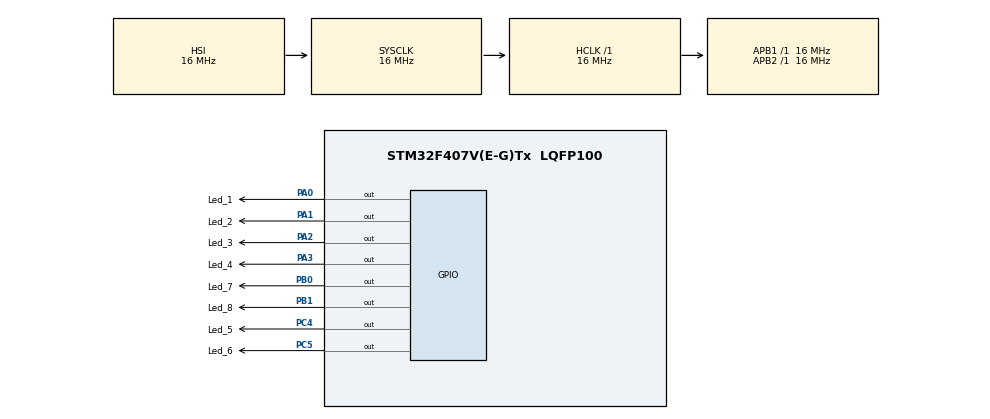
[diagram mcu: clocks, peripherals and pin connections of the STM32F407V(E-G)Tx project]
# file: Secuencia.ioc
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Mcu.Family=STM32F4
Mcu.Name=STM32F407V(E-G)Tx
Mcu.Package=LQFP100
NVIC.PriorityGroup=NVIC_PRIORITYGROUP_4
PA0-WKUP.GPIO_Label=Led_1
PA0-WKUP.Signal=GPIO_Output
PA1.GPIO_Label=Led_2
PA1.Signal=GPIO_Output
PA2.GPIO_Label=Led_3
PA2.Signal=GPIO_Output
PA3.GPIO_Label=Led_4
PA3.Signal=GPIO_Output
PB0.GPIO_Label=Led_7
PB0.Signal=GPIO_Output
PB1.GPIO_Label=Led_8
PB1.Signal=GPIO_Output
PC4.GPIO_Label=Led_5
PC4.Signal=GPIO_Output
PC5.GPIO_Label=Led_6
PC5.Signal=GPIO_Output
ProjectManager.HeapSize=0x200
ProjectManager.StackSize=0x400
ProjectManager.TargetToolchain=TrueSTUDIO
RCC.AHBFreq_Value=16000000
RCC.APB1Freq_Value=16000000
RCC.APB2Freq_Value=16000000
RCC.CortexFreq_Value=16000000
RCC.HSE_VALUE=25000000
RCC.HSI_VALUE=16000000
RCC.LSE_VALUE=32768
RCC.SYSCLKFreq_VALUE=16000000
RCC.VCOOutputFreq_Value=192000000
board=Secuencia

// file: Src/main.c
/**
  ******************************************************************************
  * File Name          : main.c
  * Description        : Main program body
  ******************************************************************************
  ** This notice applies to any and all portions of this file
  * that are not between comment pairs USER CODE BEGIN and
  * USER CODE END. Other portions of this file, whether
  * inserted by the user or by software development tools
  * are owned by their respective copyright owners.
  *
  * COPYRIGHT(c) 2017 STMicroelectronics
  *
  * Redistribution and use in source and binary forms, with or without modification,
  * are permitted provided that the following conditions are met:
  *   1. Redistributions of source code must retain the above copyright notice,
  *      this list of conditions and the following disclaimer.
  *   2. Redistributions in binary form must reproduce the above copyright notice,
  *      this list of conditions and the following disclaimer in the documentation
  *      and/or other materials provided with the distribution.
  *   3. Neither the name of STMicroelectronics nor the names of its contributors
  *      may be used to endorse or promote products derived from this software
  *      without specific prior written permission.
  *
  * THIS SOFTWARE IS PROVIDED BY THE COPYRIGHT HOLDERS AND CONTRIBUTORS "AS IS"
  * AND ANY EXPRESS OR IMPLIED WARRANTIES, INCLUDING, BUT NOT LIMITED TO, THE
  * IMPLIED WARRANTIES OF MERCHANTABILITY AND FITNESS FOR A PARTICULAR PURPOSE ARE
  * DISCLAIMED. IN NO EVENT SHALL THE COPYRIGHT HOLDER OR CONTRIBUTORS BE LIABLE
  * FOR ANY DIRECT, INDIRECT, INCIDENTAL, SPECIAL, EXEMPLARY, OR CONSEQUENTIAL
  * DAMAGES (INCLUDING, BUT NOT LIMITED TO, PROCUREMENT OF SUBSTITUTE GOODS OR
  * SERVICES; LOSS OF USE, DATA, OR PROFITS; OR BUSINESS INTERRUPTION) HOWEVER
  * CAUSED AND ON ANY THEORY OF LIABILITY, WHETHER IN CONTRACT, STRICT LIABILITY,
  * OR TORT (INCLUDING NEGLIGENCE OR OTHERWISE) ARISING IN ANY WAY OUT OF THE USE
  * OF THIS SOFTWARE, EVEN IF ADVISED OF THE POSSIBILITY OF SUCH DAMAGE.
  *
  ******************************************************************************
  */
#include "main.h"
#include "stm32f4xx_hal.h"
#include "gpio.h"

/* USER CODE BEGIN PV */
/* Private variables ---------------------------------------------------------*/

/* USER CODE END PV */

void SystemClock_Config(void);

/* USER CODE BEGIN PFP */
/* Private function prototypes -----------------------------------------------*/

/* USER CODE END PFP */

int main(void)
{

  /* MCU Configuration----------------------------------------------------------*/

  /* Reset of all peripherals, Initializes the Flash interface and the Systick. */
  HAL_Init();

  /* Configure the system clock */
  SystemClock_Config();

  /* Initialize all configured peripherals */
  MX_GPIO_Init();

  /* Infinite loop */
  while (1)
  {

  /* USER CODE BEGIN 3 */
	  	  	  	  	HAL_GPIO_WritePin(GPIOA, Led_1_Pin,GPIO_PIN_SET);
	  	  	   		HAL_GPIO_WritePin(GPIOA, Led_2_Pin,GPIO_PIN_RESET);
	  	  	   		HAL_GPIO_WritePin(GPIOA, Led_3_Pin,GPIO_PIN_RESET);
	  	  	   		HAL_GPIO_WritePin(GPIOA, Led_4_Pin,GPIO_PIN_RESET);
	  	  	   	    HAL_GPIO_WritePin(GPIOC, Led_5_Pin,GPIO_PIN_RESET);
	  	  	        HAL_GPIO_WritePin(GPIOC, Led_6_Pin,GPIO_PIN_RESET);
	  	  	   		HAL_GPIO_WritePin(GPIOB, Led_7_Pin,GPIO_PIN_RESET);
	  	  	   		HAL_GPIO_WritePin(GPIOB, Led_8_Pin,GPIO_PIN_RESET);
	  	  	  	    HAL_Delay(1000);
	  	  	  		HAL_GPIO_WritePin(GPIOA, Led_1_Pin,GPIO_PIN_RESET);
	  	  	   		HAL_GPIO_WritePin(GPIOA, Led_2_Pin,GPIO_PIN_SET);
	  	  	   		HAL_GPIO_WritePin(GPIOA, Led_3_Pin,GPIO_PIN_RESET);
	  	  	   		HAL_GPIO_WritePin(GPIOA, Led_4_Pin,GPIO_PIN_RESET);
	  	  	   	    HAL_GPIO_WritePin(GPIOC, Led_5_Pin,GPIO_PIN_RESET);
	  	  	        HAL_GPIO_WritePin(GPIOC, Led_6_Pin,GPIO_PIN_RESET);
	  	  	   		HAL_GPIO_WritePin(GPIOB, Led_7_Pin,GPIO_PIN_RESET);
	  	  	   		HAL_GPIO_WritePin(GPIOB, Led_8_Pin,GPIO_PIN_RESET);
	  	  	   		HAL_Delay(1000);
	  	  	  		HAL_GPIO_WritePin(GPIOA, Led_1_Pin,GPIO_PIN_RESET);
	  	  	   		HAL_GPIO_WritePin(GPIOA, Led_2_Pin,GPIO_PIN_RESET);
	  	  	   		HAL_GPIO_WritePin(GPIOA, Led_3_Pin,GPIO_PIN_SET);
	  	  	   		HAL_GPIO_WritePin(GPIOA, Led_4_Pin,GPIO_PIN_RESET);
	  	  	   	    HAL_GPIO_WritePin(GPIOC, Led_5_Pin,GPIO_PIN_RESET);
	  	  	        HAL_GPIO_WritePin(GPIOC, Led_6_Pin,GPIO_PIN_RESET);
	  	  	   		HAL_GPIO_WritePin(GPIOB, Led_7_Pin,GPIO_PIN_RESET);
	  	  	   		HAL_GPIO_WritePin(GPIOB, Led_8_Pin,GPIO_PIN_RESET);
	  	  	   		HAL_Delay(1000);
	  	  	  		HAL_GPIO_WritePin(GPIOA, Led_1_Pin,GPIO_PIN_RESET);
	  	  	   		HAL_GPIO_WritePin(GPIOA, Led_2_Pin,GPIO_PIN_RESET);
	  	  	   		HAL_GPIO_WritePin(GPIOA, Led_3_Pin,GPIO_PIN_RESET);
	  	  	   		HAL_GPIO_WritePin(GPIOA, Led_4_Pin,GPIO_PIN_SET);
	  	  	   	    HAL_GPIO_WritePin(GPIOC, Led_5_Pin,GPIO_PIN_RESET);
	  	  	        HAL_GPIO_WritePin(GPIOC, Led_6_Pin,GPIO_PIN_RESET);
	  	  	   		HAL_GPIO_WritePin(GPIOB, Led_7_Pin,GPIO_PIN_RESET);
	  	  	   		HAL_GPIO_WritePin(GPIOB, Led_8_Pin,GPIO_PIN_RESET);
	  	  	   	    HAL_Delay(1000);
	  	  	  		HAL_GPIO_WritePin(GPIOA, Led_1_Pin,GPIO_PIN_RESET);
	  	  	   		HAL_GPIO_WritePin(GPIOA, Led_2_Pin,GPIO_PIN_RESET);
	  	  	   		HAL_GPIO_WritePin(GPIOA, Led_3_Pin,GPIO_PIN_RESET);
	  	  	   		HAL_GPIO_WritePin(GPIOA, Led_4_Pin,GPIO_PIN_RESET);
	  	  	   	    HAL_GPIO_WritePin(GPIOC, Led_5_Pin,GPIO_PIN_SET);
	  	  	        HAL_GPIO_WritePin(GPIOC, Led_6_Pin,GPIO_PIN_RESET);
	  	  	   		HAL_GPIO_WritePin(GPIOB, Led_7_Pin,GPIO_PIN_RESET);
	  	  	   		HAL_GPIO_WritePin(GPIOB, Led_8_Pin,GPIO_PIN_RESET);
	  	  	   	    HAL_Delay(1000);
	  	  	  		HAL_GPIO_WritePin(GPIOA, Led_1_Pin,GPIO_PIN_RESET);
	  	  	   		HAL_GPIO_WritePin(GPIOA, Led_2_Pin,GPIO_PIN_RESET);
	  	  	   		HAL_GPIO_WritePin(GPIOA, Led_3_Pin,GPIO_PIN_RESET);
	  	  	   		HAL_GPIO_WritePin(GPIOA, Led_4_Pin,GPIO_PIN_RESET);
	  	  	   	    HAL_GPIO_WritePin(GPIOC, Led_5_Pin,GPIO_PIN_RESET);
	  	  	        HAL_GPIO_WritePin(GPIOC, Led_6_Pin,GPIO_PIN_SET);
	  	  	   		HAL_GPIO_WritePin(GPIOB, Led_7_Pin,GPIO_PIN_RESET);
	  	  	   		HAL_GPIO_WritePin(GPIOB, Led_8_Pin,GPIO_PIN_RESET);
	  	  	   		HAL_Delay(1000);
	  	  	  		HAL_GPIO_WritePin(GPIOA, Led_1_Pin,GPIO_PIN_RESET);
	  	  	   		HAL_GPIO_WritePin(GPIOA, Led_2_Pin,GPIO_PIN_RESET);
	  	  	   		HAL_GPIO_WritePin(GPIOA, Led_3_Pin,GPIO_PIN_RESET);
	  	  	   		HAL_GPIO_WritePin(GPIOA, Led_4_Pin,GPIO_PIN_RESET);
	  	  	   	    HAL_GPIO_WritePin(GPIOC, Led_5_Pin,GPIO_PIN_RESET);
	  	  	        HAL_GPIO_WritePin(GPIOC, Led_6_Pin,GPIO_PIN_RESET);
	  	  	   		HAL_GPIO_WritePin(GPIOB, Led_7_Pin,GPIO_PIN_SET);
	  	  	   		HAL_GPIO_WritePin(GPIOB, Led_8_Pin,GPIO_PIN_RESET);
	  	  	   	    HAL_Delay(1000);
	  	  	  		HAL_GPIO_WritePin(GPIOA, Led_1_Pin,GPIO_PIN_RESET);
	  	  	   		HAL_GPIO_WritePin(GPIOA, Led_2_Pin,GPIO_PIN_RESET);
	  	  	   		HAL_GPIO_WritePin(GPIOA, Led_3_Pin,GPIO_PIN_RESET);
	  	  	   		HAL_GPIO_WritePin(GPIOA, Led_4_Pin,GPIO_PIN_RESET);
	  	  	   	    HAL_GPIO_WritePin(GPIOC, Led_5_Pin,GPIO_PIN_RESET);
	  	  	        HAL_GPIO_WritePin(GPIOC, Led_6_Pin,GPIO_PIN_RESET);
	  	  	   		HAL_GPIO_WritePin(GPIOB, Led_7_Pin,GPIO_PIN_RESET);
	  	  	   		HAL_GPIO_WritePin(GPIOB, Led_8_Pin,GPIO_PIN_SET);
	  	  	   		HAL_Delay(1000);
	  	  	  		HAL_GPIO_WritePin(GPIOA, Led_1_Pin,GPIO_PIN_RESET);
	  	  	   		HAL_GPIO_WritePin(GPIOA, Led_2_Pin,GPIO_PIN_RESET);
	  	  	   		HAL_GPIO_WritePin(GPIOA, Led_3_Pin,GPIO_PIN_RESET);
	  	  	   		HAL_GPIO_WritePin(GPIOA, Led_4_Pin,GPIO_PIN_RESET);
	  	  	   	    HAL_GPIO_WritePin(GPIOC, Led_5_Pin,GPIO_PIN_RESET);
	  	  	        HAL_GPIO_WritePin(GPIOC, Led_6_Pin,GPIO_PIN_RESET);
	  	  	   		HAL_GPIO_WritePin(GPIOB, Led_7_Pin,GPIO_PIN_SET);
	  	  	   		HAL_GPIO_WritePin(GPIOB, Led_8_Pin,GPIO_PIN_RESET);
	  	  	   		HAL_Delay(1000);
	  	  	  		HAL_GPIO_WritePin(GPIOA, Led_1_Pin,GPIO_PIN_RESET);
	  	  	   		HAL_GPIO_WritePin(GPIOA, Led_2_Pin,GPIO_PIN_RESET);
	  	  	   		HAL_GPIO_WritePin(GPIOA, Led_3_Pin,GPIO_PIN_RESET);
	  	  	   		HAL_GPIO_WritePin(GPIOA, Led_4_Pin,GPIO_PIN_RESET);
	  	  	   	    HAL_GPIO_WritePin(GPIOC, Led_5_Pin,GPIO_PIN_RESET);
	  	  	        HAL_GPIO_WritePin(GPIOC, Led_6_Pin,GPIO_PIN_SET);
	  	  	   		HAL_GPIO_WritePin(GPIOB, Led_7_Pin,GPIO_PIN_RESET);
	  	  	   		HAL_GPIO_WritePin(GPIOB, Led_8_Pin,GPIO_PIN_RESET);
	  	  	   	    HAL_Delay(1000);
	  	  	  		HAL_GPIO_WritePin(GPIOA, Led_1_Pin,GPIO_PIN_RESET);
	  	  	   		HAL_GPIO_WritePin(GPIOA, Led_2_Pin,GPIO_PIN_RESET);
	  	  	   		HAL_GPIO_WritePin(GPIOA, Led_3_Pin,GPIO_PIN_RESET);
	  	  	   		HAL_GPIO_WritePin(GPIOA, Led_4_Pin,GPIO_PIN_RESET);
	  	  	   	    HAL_GPIO_WritePin(GPIOC, Led_5_Pin,GPIO_PIN_SET);
	  	  	        HAL_GPIO_WritePin(GPIOC, Led_6_Pin,GPIO_PIN_RESET);
	  	  	   		HAL_GPIO_WritePin(GPIOB, Led_7_Pin,GPIO_PIN_RESET);
	  	  	   		HAL_GPIO_WritePin(GPIOB, Led_8_Pin,GPIO_PIN_RESET);
	  	  	        HAL_Delay(1000);
	  	  	  		HAL_GPIO_WritePin(GPIOA, Led_1_Pin,GPIO_PIN_RESET);
	  	  	   		HAL_GPIO_WritePin(GPIOA, Led_2_Pin,GPIO_PIN_RESET);
	  	  	   		HAL_GPIO_WritePin(GPIOA, Led_3_Pin,GPIO_PIN_RESET);
	  	  	   		HAL_GPIO_WritePin(GPIOA, Led_4_Pin,GPIO_PIN_SET);
	  	  	   	    HAL_GPIO_WritePin(GPIOC, Led_5_Pin,GPIO_PIN_RESET);
	  	  	        HAL_GPIO_WritePin(GPIOC, Led_6_Pin,GPIO_PIN_RESET);
	  	  	   		HAL_GPIO_WritePin(GPIOB, Led_7_Pin,GPIO_PIN_RESET);
	  	  	   		HAL_GPIO_WritePin(GPIOB, Led_8_Pin,GPIO_PIN_RESET);
	  	  	   	    HAL_Delay(1000);
	  	  	  		HAL_GPIO_WritePin(GPIOA, Led_1_Pin,GPIO_PIN_RESET);
	  	  	   		HAL_GPIO_WritePin(GPIOA, Led_2_Pin,GPIO_PIN_RESET);
	  	  	   		HAL_GPIO_WritePin(GPIOA, Led_3_Pin,GPIO_PIN_SET);
	  	  	   		HAL_GPIO_WritePin(GPIOA, Led_4_Pin,GPIO_PIN_RESET);
	  	  	   	    HAL_GPIO_WritePin(GPIOC, Led_5_Pin,GPIO_PIN_RESET);
	  	  	        HAL_GPIO_WritePin(GPIOC, Led_6_Pin,GPIO_PIN_RESET);
	  	  	   		HAL_GPIO_WritePin(GPIOB, Led_7_Pin,GPIO_PIN_RESET);
	  	  	   		HAL_GPIO_WritePin(GPIOB, Led_8_Pin,GPIO_PIN_RESET);
	  	  	   	    HAL_Delay(1000);
	  	  	  		HAL_GPIO_WritePin(GPIOA, Led_1_Pin,GPIO_PIN_RESET);
	  	  	   		HAL_GPIO_WritePin(GPIOA, Led_2_Pin,GPIO_PIN_SET);
	  	  	   		HAL_GPIO_WritePin(GPIOA, Led_3_Pin,GPIO_PIN_RESET);
	  	  	   		HAL_GPIO_WritePin(GPIOA, Led_4_Pin,GPIO_PIN_RESET);
	  	  	   	    HAL_GPIO_WritePin(GPIOC, Led_5_Pin,GPIO_PIN_RESET);
	  	  	        HAL_GPIO_WritePin(GPIOC, Led_6_Pin,GPIO_PIN_RESET);
	  	  	   		HAL_GPIO_WritePin(GPIOB, Led_7_Pin,GPIO_PIN_RESET);
	  	  	   		HAL_GPIO_WritePin(GPIOB, Led_8_Pin,GPIO_PIN_RESET);
	  	  	   	   HAL_Delay(1000);

  }
  /* USER CODE END 3 */

}

/** System Clock Configuration
*/
void SystemClock_Config(void)
{

  RCC_OscInitTypeDef RCC_OscInitStruct;
  RCC_ClkInitTypeDef RCC_ClkInitStruct;

    /**Configure the main internal regulator output voltage
    */
  __HAL_RCC_PWR_CLK_ENABLE();

  __HAL_PWR_VOLTAGESCALING_CONFIG(PWR_REGULATOR_VOLTAGE_SCALE1);

    /**Initializes the CPU, AHB and APB busses clocks
    */
  RCC_OscInitStruct.OscillatorType = RCC_OSCILLATORTYPE_HSI;
  RCC_OscInitStruct.HSIState = RCC_HSI_ON;
  RCC_OscInitStruct.HSICalibrationValue = 16;
  RCC_OscInitStruct.PLL.PLLState = RCC_PLL_NONE;
  if (HAL_RCC_OscConfig(&RCC_OscInitStruct) != HAL_OK)
  {
    _Error_Handler(__FILE__, __LINE__);
  }

    /**Initializes the CPU, AHB and APB busses clocks
    */
  RCC_ClkInitStruct.ClockType = RCC_CLOCKTYPE_HCLK|RCC_CLOCKTYPE_SYSCLK
                              |RCC_CLOCKTYPE_PCLK1|RCC_CLOCKTYPE_PCLK2;
  RCC_ClkInitStruct.SYSCLKSource = RCC_SYSCLKSOURCE_HSI;
  RCC_ClkInitStruct.AHBCLKDivider = RCC_SYSCLK_DIV1;
  RCC_ClkInitStruct.APB1CLKDivider = RCC_HCLK_DIV1;
  RCC_ClkInitStruct.APB2CLKDivider = RCC_HCLK_DIV1;

  if (HAL_RCC_ClockConfig(&RCC_ClkInitStruct, FLASH_LATENCY_0) != HAL_OK)
  {
    _Error_Handler(__FILE__, __LINE__);
  }

    /**Configure the Systick interrupt time
    */
  HAL_SYSTICK_Config(HAL_RCC_GetHCLKFreq()/1000);

    /**Configure the Systick
    */
  HAL_SYSTICK_CLKSourceConfig(SYSTICK_CLKSOURCE_HCLK);

  /* SysTick_IRQn interrupt configuration */
  HAL_NVIC_SetPriority(SysTick_IRQn, 0, 0);
}

void _Error_Handler(char * file, int line)
{
  while(1)
  {
  }
}

/************************ (C) COPYRIGHT STMicroelectronics *****END OF FILE****/
